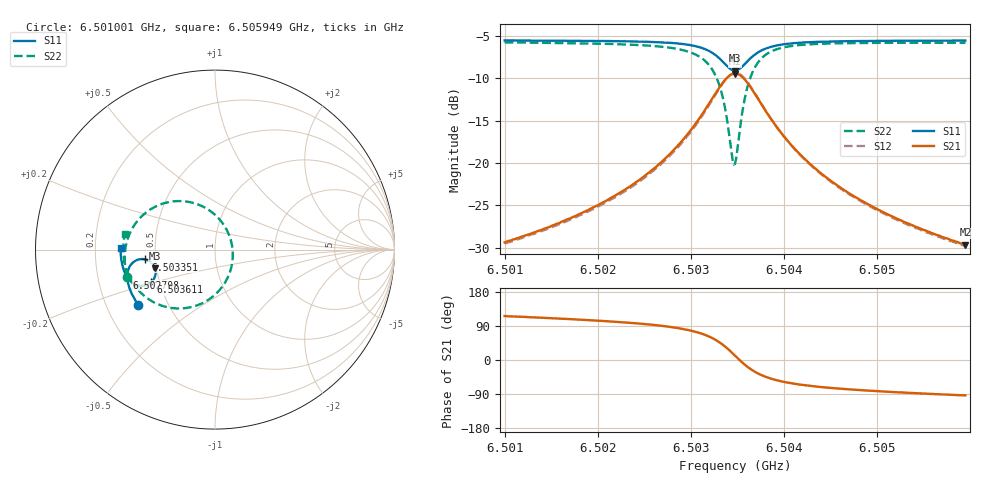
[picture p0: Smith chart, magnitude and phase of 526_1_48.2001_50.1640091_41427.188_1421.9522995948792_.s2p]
#  HZ  S  RI  R  50.00
! Rohde & Schwarz Vector Network Analyzer
! Rohde-Schwarz,ZNB20-2Port,1311601062101988,3.16
! Created: UTC 3/20/2024, 11:59:40 AM
! freq[Hz]  re:S11  im:S11  re:S21  im:S21  re:S12  im:S12  re:S22  im:S22
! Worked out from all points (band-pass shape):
!   401 points, 6.501001 GHz to 6.505949 GHz, reference 50 ohm
!   highest |S21| = -9.46 dB at 6.503475 GHz (marker M1); lowest = -29.6 dB at 6.505949 GHz (marker M2)
!   |S21| within 3 dB of the highest: 6.503228 GHz to 6.503723 GHz (494.9 kHz wide, 0.00761 % of centre)
!   lowest |S11| = -9.1 dB at 6.503475 GHz (marker M3), VSWR 2.08, Z = 24.5 - j5.86 ohm
!   |S11| at or under -10 dB: nowhere
!   |S22| runs from -20.2 to -5.8 dB; largest |S21 - S12| = 0.011
!   S11 on the Smith chart (normalised r, x): 6.501001 GHz: 0.34, -0.29; 6.502708 GHz: 0.33, -0.14; 6.503351 GHz: 0.44, -0.06; 6.503611 GHz: 0.45, -0.19; 6.505949 GHz: 0.31, +0.01
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6.5010008e9  -0.4284 -0.3072  -0.0149 0.0305  -0.0132 0.0306  -0.4907 -0.151
6.5018297e9  -0.4638 -0.2455  -0.0141 0.0487  -0.0117 0.0482  -0.5031 -0.062
6.5022751e9  -0.4793 -0.2058  -0.0111 0.0677  -0.00838 0.0665  -0.4998 0.00171
6.5026586e9  -0.4883 -0.163  -0.00166 0.0983  0.00158 0.0959  -0.4796 0.079
6.5027081e9  -0.4888 -0.1565  0.000676 0.1039  0.00426 0.1015  -0.4741 0.0919
6.5029308e9  -0.486 -0.1219  0.0213 0.1381  0.0248 0.1341  -0.4308 0.1612
6.5030916e9  -0.473 -0.0901  0.0579 0.1733  0.0606 0.168  -0.3597 0.2242
6.5032524e9  -0.4337 -0.0577  0.1431 0.2052  0.1435 0.1992  -0.2041 0.2704
6.5033514e9  -0.3877 -0.0546  0.2337 0.1891  0.2338 0.1848  -0.0472 0.2288
6.503438e9  -0.3449 -0.0831  0.312 0.1153  0.3143 0.1118  0.0775 0.084
6.5034627e9  -0.3369 -0.0972  0.3253 0.084  0.3285 0.0796  0.0946 0.0246
6.5034751e9  -0.334 -0.1049  0.3297 0.0672  0.3333 0.0623  0.0985 -0.00652
6.5034998e9  -0.3309 -0.121  0.3332 0.0326  0.3373 0.0267  0.0966 -0.0696
6.503537e9  -0.3328 -0.1449  0.3263 -0.017  0.33 -0.0253  0.0699 -0.1578
6.5036112e9  -0.3549 -0.1819  0.2803 -0.0934  0.2806 -0.1042  -0.0385 -0.2807
6.5037225e9  -0.4002 -0.202  0.1939 -0.1389  0.1891 -0.1484  -0.2134 -0.3277
6.5038834e9  -0.4473 -0.1927  0.1105 -0.1354  0.1037 -0.1406  -0.3638 -0.28
6.5040566e9  -0.4752 -0.1713  0.065 -0.1147  0.0589 -0.117  -0.4373 -0.2139
6.504304e9  -0.4962 -0.1414  0.0345 -0.0897  0.0299 -0.0903  -0.4814 -0.141
6.5046999e9  -0.5127 -0.0999  0.0144 -0.0647  0.0111 -0.0643  -0.5048 -0.0614
6.5051329e9  -0.5214 -0.0597  0.0051 -0.0489  0.00294 -0.0483  -0.5103 0.000279
6.5059494e9  -0.5263 0.00988  -0.00181 -0.0329  -0.00328 -0.0321  -0.503 0.0876
